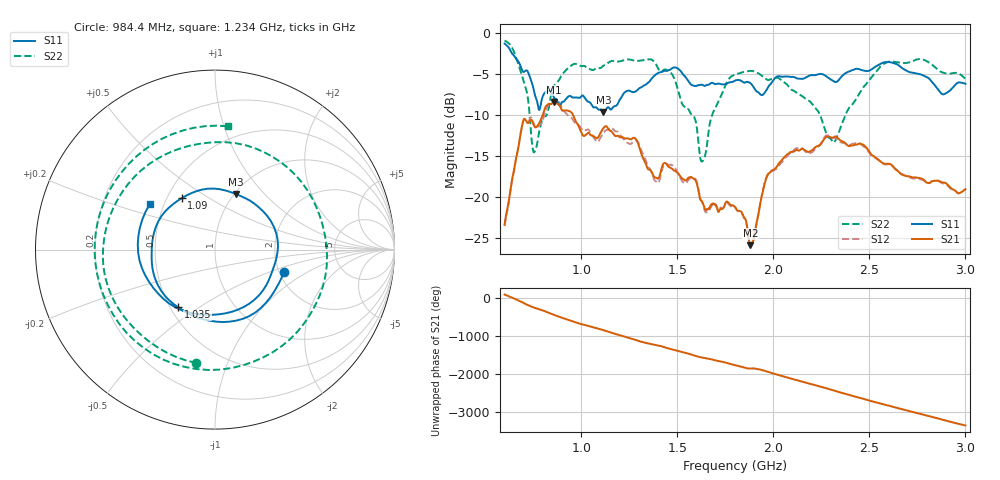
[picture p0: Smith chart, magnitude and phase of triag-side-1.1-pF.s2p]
#  HZ  S  RI  R  50.00
! Rohde & Schwarz ZVB8 2Ports - Version 2.81 - 1145.1010k08 SN: 100113
! Date: 2016-03-12 02:53:47
! Measurements: S11 S21 S12 S22
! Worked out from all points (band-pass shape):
!   1000 points, 600 MHz to 3 GHz, reference 50 ohm
!   highest |S21| = -8.41 dB at 857.1 MHz (marker M1); lowest = -25.9 dB at 1.88 GHz (marker M2)
!   |S21| within 3 dB of the highest: 690.4 MHz to 755.8 MHz (65.47 MHz wide, 9.05 % of centre); 768.1 MHz to 986.5 MHz (218.3 MHz wide, 24.9 % of centre)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
!   lowest |S11| = -9.6 dB at 1.114 GHz (marker M3), VSWR 1.99, Z = 50.8 + j35.3 ohm
!   |S11| at or under -10 dB: nowhere
!   |S22| runs from -15.7 to -0.9 dB; largest |S21 - S12| = 0.027
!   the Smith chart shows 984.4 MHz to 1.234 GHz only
!   S11 on the Smith chart (normalised r, x): 984.4 MHz: 2.11, -0.64; 1.035 GHz: 0.55, -0.41; 1.09 GHz: 0.59, +0.39; 1.234 GHz: 0.42, +0.26
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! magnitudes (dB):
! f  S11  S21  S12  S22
! 600 MHz  -1.3  -23.4  -23.6  -0.9
! 693.7 MHz  -4.6  -11.0  -11.0  -5.4
! 753.8 MHz  -7.1  -11.3  -11.1  -14.6
! 857.1 MHz  -7.9  -8.4  -7.9  -6.4
! 984.4 MHz  -7.9  -11.3  -11.2  -3.9
! 1.001 GHz  -7.7  -12.2  -11.7  -4.0
! 1.035 GHz  -8.4  -12.2  -11.7  -4.3
! 1.09 GHz  -9.3  -12.6  -13.2  -4.3
! 1.114 GHz  -9.6  -11.6  -12.3  -4.0
! 1.234 GHz  -7.1  -12.8  -13.3  -3.2
! 1.4 GHz  -4.9  -17.8  -18.3  -4.3
! 1.585 GHz  -6.4  -17.8  -17.8  -10.1
! 1.631 GHz  -6.3  -20.7  -20.7  -15.6
! 1.686 GHz  -6.1  -20.9  -20.9  -9.7
! 1.801 GHz  -5.8  -21.3  -21.3  -5.1
! 1.88 GHz  -6.1  -25.9  -26.0  -4.6
! 1.972 GHz  -6.6  -17.3  -17.2  -5.7
! 2.2 GHz  -5.1  -14.3  -14.6  -8.6
! 2.315 GHz  -5.9  -12.7  -12.8  -13.4
! 2.601 GHz  -3.5  -16.0  -16.0  -3.5
! 2.882 GHz  -7.5  -18.2  -18.3  -4.8
! 3 GHz  -6.2  -19.1  -19.1  -5.6
